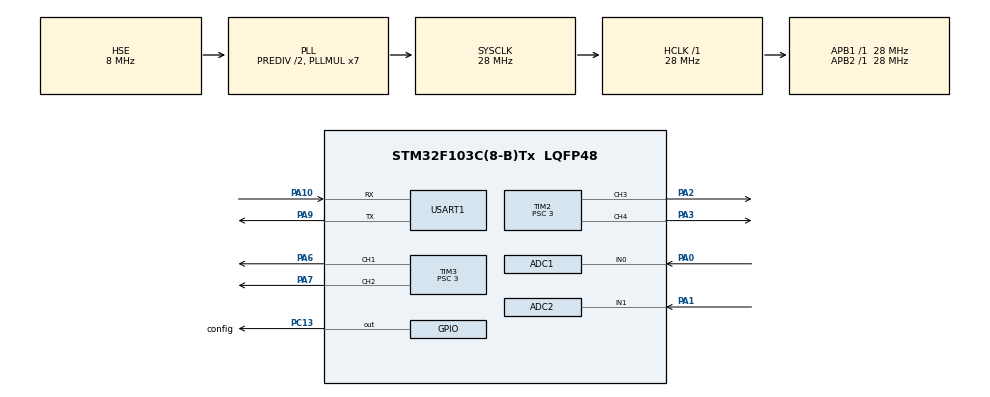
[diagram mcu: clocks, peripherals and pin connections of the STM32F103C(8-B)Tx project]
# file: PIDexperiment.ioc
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ADC1.Channel-0\#ChannelRegularConversion=ADC_CHANNEL_0
ADC1.NbrOfConversionFlag=1
ADC1.Rank-0\#ChannelRegularConversion=1
ADC1.SamplingTime-0\#ChannelRegularConversion=ADC_SAMPLETIME_239CYCLES_5
ADC1.master=1
ADC2.Channel-0\#ChannelRegularConversion=ADC_CHANNEL_1
ADC2.NbrOfConversionFlag=1
ADC2.Rank-0\#ChannelRegularConversion=1
ADC2.SamplingTime-0\#ChannelRegularConversion=ADC_SAMPLETIME_239CYCLES_5
Dma.Request0=USART1_RX
Dma.USART1_RX.0.Direction=DMA_PERIPH_TO_MEMORY
Dma.USART1_RX.0.Instance=DMA1_Channel5
Dma.USART1_RX.0.MemDataAlignment=DMA_MDATAALIGN_BYTE
Dma.USART1_RX.0.MemInc=DMA_MINC_ENABLE
Dma.USART1_RX.0.Mode=DMA_CIRCULAR
Dma.USART1_RX.0.PeriphDataAlignment=DMA_PDATAALIGN_BYTE
Dma.USART1_RX.0.PeriphInc=DMA_PINC_DISABLE
Dma.USART1_RX.0.Priority=DMA_PRIORITY_MEDIUM
Mcu.Family=STM32F1
Mcu.Name=STM32F103C(8-B)Tx
Mcu.Package=LQFP48
NVIC.ADC1_2_IRQn=true\:1\:0\:true\:false\:true\:true\:true
NVIC.DMA1_Channel5_IRQn=true\:0\:0\:false\:false\:true\:false\:true
NVIC.PriorityGroup=NVIC_PRIORITYGROUP_4
NVIC.RCC_IRQn=true\:0\:0\:false\:false\:true\:true\:false
NVIC.TIM2_IRQn=true\:2\:0\:true\:false\:true\:true\:true
NVIC.TIM3_IRQn=true\:2\:0\:true\:false\:true\:true\:true
NVIC.USART1_IRQn=true\:0\:0\:false\:false\:true\:true\:true
PA0-WKUP.Signal=ADCx_IN0
PA1.Signal=ADCx_IN1
PA10.Mode=Asynchronous
PA10.Signal=USART1_RX
PA2.GPIO_ModeDefaultPP=GPIO_MODE_AF_PP
PA2.Signal=S_TIM2_CH3
PA3.GPIO_ModeDefaultPP=GPIO_MODE_AF_PP
PA3.Signal=S_TIM2_CH4
PA6.GPIO_ModeDefaultPP=GPIO_MODE_AF_PP
PA6.Signal=S_TIM3_CH1
PA7.GPIO_ModeDefaultPP=GPIO_MODE_AF_PP
PA7.Signal=S_TIM3_CH2
PA9.Mode=Asynchronous
PA9.Signal=USART1_TX
PC13-TAMPER-RTC.GPIO_Label=config
PC13-TAMPER-RTC.Signal=GPIO_Output
PD0-OSC_IN.Mode=HSE-External-Oscillator
PD0-OSC_IN.Signal=RCC_OSC_IN
PD1-OSC_OUT.Mode=HSE-External-Oscillator
PD1-OSC_OUT.Signal=RCC_OSC_OUT
ProjectManager.HeapSize=0x200
ProjectManager.StackSize=0x400
ProjectManager.TargetToolchain=MDK-ARM V5
RCC.AHBFreq_Value=28000000
RCC.APB1Freq_Value=28000000
RCC.APB1TimFreq_Value=28000000
RCC.APB2Freq_Value=28000000
RCC.APB2TimFreq_Value=28000000
RCC.EnbaleCSS=true
RCC.HCLKFreq_Value=28000000
RCC.HSEDivPLL=RCC_HSE_PREDIV_DIV2
RCC.PLLMUL=RCC_PLL_MUL7
RCC.PLLSourceVirtual=RCC_PLLSOURCE_HSE
RCC.SYSCLKFreq_VALUE=28000000
RCC.SYSCLKSource=RCC_SYSCLKSOURCE_PLLCLK
RCC.USBFreq_Value=28000000
SH.ADCx_IN0.0=ADC1_IN0,IN0
SH.ADCx_IN1.0=ADC2_IN1,IN1
SH.S_TIM2_CH3.0=TIM2_CH3,PWM Generation3 CH3
SH.S_TIM2_CH4.0=TIM2_CH4,PWM Generation4 CH4
SH.S_TIM3_CH1.0=TIM3_CH1,PWM Generation1 CH1
SH.S_TIM3_CH2.0=TIM3_CH2,PWM Generation2 CH2
TIM2.AutoReloadPreload=TIM_AUTORELOAD_PRELOAD_ENABLE
TIM2.Channel-PWM\ Generation3\ CH3=TIM_CHANNEL_3
TIM2.Channel-PWM\ Generation4\ CH4=TIM_CHANNEL_4
TIM2.Period=99
TIM2.Prescaler=3
TIM2.Pulse-PWM\ Generation3\ CH3=1
TIM2.Pulse-PWM\ Generation4\ CH4=2
TIM2.TIM_MasterOutputTrigger=TIM_TRGO_UPDATE
TIM3.AutoReloadPreload=TIM_AUTORELOAD_PRELOAD_ENABLE
TIM3.Channel-PWM\ Generation1\ CH1=TIM_CHANNEL_1
TIM3.Channel-PWM\ Generation2\ CH2=TIM_CHANNEL_2
TIM3.OCPolarity_1=TIM_OCPOLARITY_HIGH
TIM3.Period=99
TIM3.Prescaler=3
TIM3.Pulse-PWM\ Generation1\ CH1=3
TIM3.Pulse-PWM\ Generation2\ CH2=4
TIM3.TIM_MasterOutputTrigger=TIM_TRGO_UPDATE
USART1.VirtualMode=VM_ASYNC
VP_SYS_VS_ND.Mode=No_Debug
VP_TIM2_VS_ClockSourceINT.Mode=Internal
VP_TIM3_VS_ClockSourceINT.Mode=Internal
board=custom

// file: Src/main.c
/* USER CODE BEGIN Header */
/**
  ******************************************************************************
  * @file           : main.c
  * @brief          : Main program body
  ******************************************************************************
  * @attention
  *
  * <h2><center>&copy; Copyright (c) 2020 STMicroelectronics.
  * All rights reserved.</center></h2>
  *
  * This software component is licensed by ST under BSD 3-Clause license,
  * the "License"; You may not use this file except in compliance with the
  * License. You may obtain a copy of the License at:
  *                        opensource.org/licenses/BSD-3-Clause
  *
  ******************************************************************************
  */
/* USER CODE END Header */

#include "main.h"
#include "adc.h"
#include "dma.h"
#include "tim.h"
#include "usart.h"
#include "gpio.h"

/* USER CODE BEGIN PTD */
unsigned char PWM1,PWM2,PWM3,PWM4,i,flag;
unsigned int ADC014,ADC023,AI1,AI2;
unsigned int ADC014B=0,ADC023B=0;
unsigned int timeout;
uint8_t aRxBuffer[10];
uint8_t* attention;
//uint8_t ADC014_H1,ADC014_H2,ADC014_L1,ADC014_L2,ADC023_H1,ADC023_H2,ADC023_L1,ADC023_L2;
uint8_t Calculate_flag;
unsigned long sparetime,sparetimemax,error140,error141,error230,error231;
int P=30,I=0,D=0,S=60,P14=900,I14=0,D14=8000,S14=50,P23=900,I23=0,D23=8000,S23=50,errorsum14=0,errorsum23=0;
void set_PWM1(uint16_t value)
{

    TIM_OC_InitTypeDef sConfigOC;
    sConfigOC.OCMode = TIM_OCMODE_PWM1;
    sConfigOC.Pulse = value;
    sConfigOC.OCPolarity = TIM_OCPOLARITY_HIGH;
    sConfigOC.OCFastMode = TIM_OCFAST_DISABLE;
    HAL_TIM_PWM_ConfigChannel(&htim3, &sConfigOC, TIM_CHANNEL_1);
    HAL_TIM_PWM_Start(&htim3, TIM_CHANNEL_1);
}
void set_PWM2(uint16_t value)
{

    TIM_OC_InitTypeDef sConfigOC;
    sConfigOC.OCMode = TIM_OCMODE_PWM1;
    sConfigOC.Pulse = value;
    sConfigOC.OCPolarity = TIM_OCPOLARITY_HIGH;
    sConfigOC.OCFastMode = TIM_OCFAST_DISABLE;
    HAL_TIM_PWM_ConfigChannel(&htim3, &sConfigOC, TIM_CHANNEL_2);
    HAL_TIM_PWM_Start(&htim3, TIM_CHANNEL_2);
}
void set_PWM3(uint16_t value)
{

    TIM_OC_InitTypeDef sConfigOC;
    sConfigOC.OCMode = TIM_OCMODE_PWM1;
    sConfigOC.Pulse = value;
    sConfigOC.OCPolarity = TIM_OCPOLARITY_HIGH;
    sConfigOC.OCFastMode = TIM_OCFAST_DISABLE;
    HAL_TIM_PWM_ConfigChannel(&htim2, &sConfigOC, TIM_CHANNEL_3);
    HAL_TIM_PWM_Start(&htim2, TIM_CHANNEL_3);
}
void set_PWM4(uint16_t value)
{

    TIM_OC_InitTypeDef sConfigOC;
    sConfigOC.OCMode = TIM_OCMODE_PWM1;
    sConfigOC.Pulse = value;
    sConfigOC.OCPolarity = TIM_OCPOLARITY_HIGH;
    sConfigOC.OCFastMode = TIM_OCFAST_DISABLE;
    HAL_TIM_PWM_ConfigChannel(&htim2, &sConfigOC, TIM_CHANNEL_4);
    HAL_TIM_PWM_Start(&htim2, TIM_CHANNEL_4);
}
void get_ADC014()
{    for(i=0;i<10;i++){
	  HAL_ADC_Start(&hadc1);
    HAL_ADC_PollForConversion(&hadc1, 0xff);
    ADC014B+=HAL_ADC_GetValue(&hadc1) ; }
   ADC014=ADC014B/10;
		ADC014B=0;
}
void get_ADC023()
{    for(i=0;i<10;i++){
	  HAL_ADC_Start(&hadc2);
    HAL_ADC_PollForConversion(&hadc2, 0xff);
    ADC023B+=HAL_ADC_GetValue(&hadc2) ; }
   ADC023=ADC023B/10;
		ADC023B=0;
}
void AT_command(){
	if(attention[0]!='R'){
	if(attention[0]=='P'&&attention[1]=='='){P=1000*(attention[3]-48)+100*(attention[4]-48)+10*(attention[5]-48)+attention[6]-48;
	if(attention[2]=='-'){P=0-P;}}
  if(attention[0]=='I'&&attention[1]=='='){I=1000*(attention[3]-48)+100*(attention[4]-48)+10*(attention[5]-48)+attention[6]-48;
	if(attention[2]=='-'){I=0-I;}}
	if(attention[0]=='D'&&attention[1]=='='){D=1000*(attention[3]-48)+100*(attention[4]-48)+10*(attention[5]-48)+attention[6]-48;
	if(attention[2]=='-'){D=0-D;}}
	if(attention[0]=='S'&&attention[1]=='='){S=1000*(attention[3]-48)+100*(attention[4]-48)+10*(attention[5]-48)+attention[6]-48;
	if(attention[2]=='-'){S=0-S;}}
	if(attention[0]=='1'&&attention[1]=='4'&&attention[2]=='='){P14=P;I14=I;D14=D;S14=S;}
	if(attention[0]=='2'&&attention[1]=='3'&&attention[2]=='='){P23=P;I23=I;D23=D;S23=S;}
	}}

int PID14(void){
	long result;
	result=P14*error141+I14*errorsum14+D14*(error141-error140);
	result/=10000;
	return (int)result;}
int PID23(void){
	long result;
	result=P23*error231+I23*errorsum23+D23*(error231-error230);
	result/=10000;
	return (int)result;}
void get_PWM(void){
	if((S14-PID14())<(2*S14)&&(S14-PID14())>=0){
	set_PWM1(S14-PID14());}
	else if((S14-PID14())>=(2*S14))set_PWM1(2*S14);
	else set_PWM1(0);
	if((S14+PID14())<(2*S14)&&(S14+PID14())>=0){
	set_PWM4(S14+PID14());}
	else if((S14+PID14())>=(2*S14))set_PWM4(2*S14);
	else set_PWM4(0);
	errorsum14+=error141;
	error140=error141;
	if((S23-PID23())<(2*S23)&&(S23-PID23())>=0){
	set_PWM2(S23-PID23());}
	else if((S23-PID23())>=(2*S23))set_PWM2(2*S23);
	else set_PWM2(0);
	if((S23+PID23())<(2*S23)&&(S23+PID23())>=0){
	set_PWM3(S23+PID23());}
	else if((S23+PID23())>=(2*S23))set_PWM3(2*S23);
	else set_PWM3(0);
	errorsum23+=error231;
	error230=error231;}

/* USER CODE END PTD */

/* USER CODE BEGIN PD */
#define timemax 50000//UART NVIC RESET TIMEOUT SETTING
/* USER CODE END PD */

void SystemClock_Config(void);

int main(void)
{

  /* MCU Configuration--------------------------------------------------------*/

  /* Reset of all peripherals, Initializes the Flash interface and the Systick. */
  HAL_Init();

  /* Configure the system clock */
  SystemClock_Config();

  /* Initialize all configured peripherals */
  MX_GPIO_Init();
  MX_DMA_Init();
  MX_ADC1_Init();
  MX_ADC2_Init();
  MX_TIM2_Init();
  MX_TIM3_Init();
  MX_USART1_UART_Init();

  /* Infinite loop */
  /* USER CODE BEGIN WHILE */
	HAL_ADC_Start(&hadc1);
    HAL_ADC_PollForConversion(&hadc1, 0xff);
    AI1=HAL_ADC_GetValue(&hadc1);
		HAL_ADC_Start(&hadc2);
    HAL_ADC_PollForConversion(&hadc2, 0xff);
    AI2=HAL_ADC_GetValue(&hadc2);
		HAL_UART_Receive_DMA(&huart1,(uint8_t *)aRxBuffer,10);
  while (1)
  {
    /* USER CODE END WHILE */

    /* USER CODE BEGIN 3 */
		AT_command();
		get_ADC014();
	  get_ADC023();
		error141=ADC014-AI1;
		error231=ADC023-AI2;
		get_PWM();
		HAL_UART_Receive_DMA(&huart1,(uint8_t *)aRxBuffer,10);
		//HAL_UART_Receive_IT(&huart1,(uint8_t*)&aRxBuffer,10);

		if(flag){HAL_UART_Transmit(&huart1,(uint8_t*)"receive:",8,0xFFFF);
				HAL_UART_Transmit(&huart1,(uint8_t*)&aRxBuffer,10,0xFFFF);
				HAL_UART_Transmit(&huart1,(uint8_t*)"\r\n",2,0xFFFF);
					if(aRxBuffer[0]=='A'&&aRxBuffer[1]=='T'&&aRxBuffer[2]=='+'){
				attention=aRxBuffer+3;

					HAL_UART_Transmit(&huart1,(uint8_t*)"        OK\r\n",13,0xFFFF);}
					else {
						HAL_UART_Transmit(&huart1,(uint8_t*)"      error\r\n",13,0xFFFF);

						}
					flag=0;
					//HAL_UART_Receive_IT(&huart1,(uint8_t *)&aRxBuffer,10);
  }
  /* USER CODE END 3 */
}
}
void SystemClock_Config(void)
{
  RCC_OscInitTypeDef RCC_OscInitStruct = {0};
  RCC_ClkInitTypeDef RCC_ClkInitStruct = {0};
  RCC_PeriphCLKInitTypeDef PeriphClkInit = {0};

  /** Initializes the CPU, AHB and APB busses clocks
  */
  RCC_OscInitStruct.OscillatorType = RCC_OSCILLATORTYPE_HSE;
  RCC_OscInitStruct.HSEState = RCC_HSE_ON;
  RCC_OscInitStruct.HSEPredivValue = RCC_HSE_PREDIV_DIV2;
  RCC_OscInitStruct.HSIState = RCC_HSI_ON;
  RCC_OscInitStruct.PLL.PLLState = RCC_PLL_ON;
  RCC_OscInitStruct.PLL.PLLSource = RCC_PLLSOURCE_HSE;
  RCC_OscInitStruct.PLL.PLLMUL = RCC_PLL_MUL7;
  if (HAL_RCC_OscConfig(&RCC_OscInitStruct) != HAL_OK)
  {
    Error_Handler();
  }
  /** Initializes the CPU, AHB and APB busses clocks
  */
  RCC_ClkInitStruct.ClockType = RCC_CLOCKTYPE_HCLK|RCC_CLOCKTYPE_SYSCLK
                              |RCC_CLOCKTYPE_PCLK1|RCC_CLOCKTYPE_PCLK2;
  RCC_ClkInitStruct.SYSCLKSource = RCC_SYSCLKSOURCE_PLLCLK;
  RCC_ClkInitStruct.AHBCLKDivider = RCC_SYSCLK_DIV1;
  RCC_ClkInitStruct.APB1CLKDivider = RCC_HCLK_DIV1;
  RCC_ClkInitStruct.APB2CLKDivider = RCC_HCLK_DIV1;

  if (HAL_RCC_ClockConfig(&RCC_ClkInitStruct, FLASH_LATENCY_1) != HAL_OK)
  {
    Error_Handler();
  }
  PeriphClkInit.PeriphClockSelection = RCC_PERIPHCLK_ADC;
  PeriphClkInit.AdcClockSelection = RCC_ADCPCLK2_DIV2;
  if (HAL_RCCEx_PeriphCLKConfig(&PeriphClkInit) != HAL_OK)
  {
    Error_Handler();
  }
  /** Enables the Clock Security System
  */
  HAL_RCC_EnableCSS();
}

/* USER CODE BEGIN 4 */
void HAL_UART_RxCpltCallback(UART_HandleTypeDef *huart)
{

        if(huart->Instance == USART1)
        { //static int timeout;
					//timeout =0;
					flag=1;

					}
        //HAL_Delay(5);
        //MX_USART1_UART_Init();
				//while(HAL_UART_Receive_IT(&huart1,(uint8_t*)&aRxBuffer,10)!=HAL_OK)
				//{ timeout++;
				//	if(timeout>timemax)break;
				//}
				}

//void HAL_TIM_PeriodElapsedCallback(TIM_HandleTypeDef *htim){
//if(htim==(&htim4)){
	//get_ADC014();
	//get_ADC023();
	// HAL_UART_Receive_IT(&huart1,(uint8_t*)&aRxBuffer,10);
	// Calculate_flag=1;
//}
//}

/* USER CODE END 4 */

void Error_Handler(void)
{
}

/************************ (C) COPYRIGHT STMicroelectronics *****END OF FILE****/
